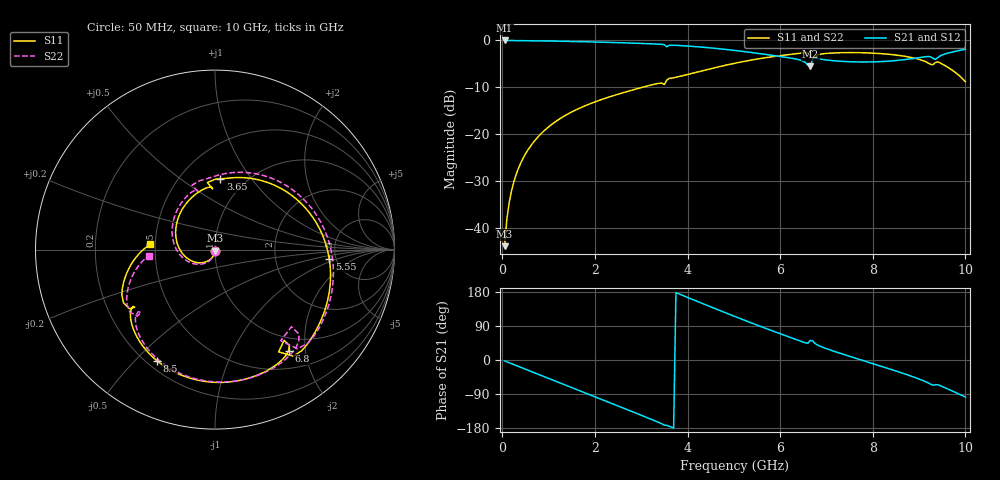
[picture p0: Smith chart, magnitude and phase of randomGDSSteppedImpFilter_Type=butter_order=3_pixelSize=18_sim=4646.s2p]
! freq	dB(S11)	phase(S11)	dB(S12)	phase(S12)
!  dB(S21)	phase(S21)	dB(S22)	phase(S22)
!S-par simulation data
#  GHz  S  DB  R 50
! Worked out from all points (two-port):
!   200 points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, 50 MHz to 10 GHz, reference 50 ohm
!   highest |S21| = 0.00 dB at 50 MHz (marker M1); lowest = -5.6 dB at 6.65 GHz (marker M2)
!   |S21| within 3 dB of the highest: start of sweep to 5.703 GHz; 9.526 GHz to end of sweep
!   lowest |S11| = -43.9 dB at 50 MHz (marker M3), VSWR 1.01, Z = 50 - j0.635 ohm
!   |S11| at or under -10 dB: start of sweep to 3.028 GHz
!   |S22| runs from -43.9 to -2.6 dB; largest |S21 - S12| = 0
!   S11 on the Smith chart (normalised r, x): 50 MHz: 1.00, -0.01; 3.65 GHz: 0.77, +0.72; 5.55 GHz: 4.40, -0.75; 6.8 GHz: 0.77, -1.69; 8.5 GHz: 0.24, -0.58; 10 GHz: 0.47, +0.03
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0.05  -43.94 -90.8  -0.00 -2.5  -0.00 -2.5  -43.94 -90.5
0.1  -38.04 -94.1  -0.01 -4.9  -0.01 -4.9  -38.04 -93.6
0.2  -32.09 -100.1  -0.02 -9.8  -0.02 -9.8  -32.09 -99.0
0.5  -24.25 -116.2  -0.05 -24.3  -0.05 -24.3  -24.25 -113.5
1.15  -17.34 -149.9  -0.15 -55.8  -0.15 -55.8  -17.34 -143.6
1.75  -14.11 179.4  -0.27 -84.8  -0.27 -84.8  -14.12 -171.3
2.5  -11.49 141.4  -0.47 -121.2  -0.47 -121.2  -11.50 153.8
3.4  -9.15 96.1  -0.80 -165.9  -0.80 -165.9  -9.17 110.0
3.65  -8.05 85.6  -1.03 -177.1  -1.03 -177.1  -8.07 98.8
4.25  -6.65 55.5  -1.38 152.7  -1.38 152.7  -6.67 67.8
5.05  -4.81 17.9  -2.17 113.4  -2.17 113.4  -4.83 27.6
5.55  -3.90 -4.6  -2.80 89.8  -2.80 89.8  -3.91 3.5
6.35  -2.83 -39.0  -4.00 53.8  -4.00 53.8  -2.86 -33.6
6.55  -2.59 -49.3  -4.76 45.0  -4.76 45.0  -2.69 -45.2
6.65  -3.47 -58.1  -5.56 51.6  -5.56 51.6  -4.07 -54.2
6.7  -3.94 -52.7  -4.04 50.4  -4.04 50.4  -4.36 -45.2
6.8  -3.14 -53.9  -3.86 40.0  -3.86 40.0  -3.21 -47.6
7.5  -2.60 -81.0  -4.55 9.6  -4.55 9.6  -2.60 -76.7
8.35  -2.96 -112.0  -4.42 -23.1  -4.42 -23.1  -2.95 -108.3
8.5  -3.12 -117.6  -4.29 -29.0  -4.29 -29.0  -3.11 -113.9
9.45  -4.78 -154.1  -3.33 -67.3  -3.33 -67.3  -4.75 -147.8
10  -8.81 175.4  -1.88 -97.9  -1.88 -97.9  -8.61 -174.7
